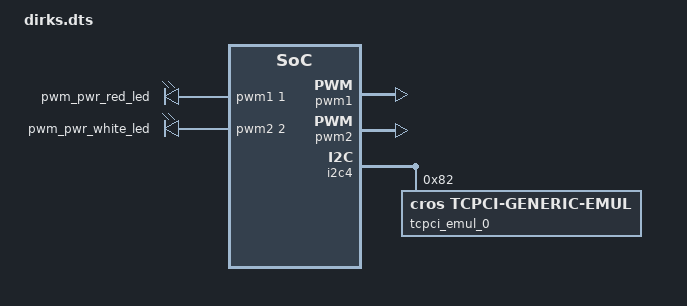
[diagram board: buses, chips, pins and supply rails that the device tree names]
/* Copyright 2025 The ChromiumOS Authors
 * Use of this source code is governed by a BSD-style license that can be
 * found in the LICENSE file.
 */

#include <dt-bindings/pwm/pwm.h>
#include <it8xxx2_emul.dts>

/ {
	aliases {
		gpio-usb-c1-int-odl = &gpio_sb_1;
	};

	named-gpios {
		compatible = "named-gpios";

		gpio_ec_entering_rw: ec_entering_rw {
			gpios = <&gpioc 7 GPIO_OUTPUT>;
			enum-name = "GPIO_ENTERING_RW";
		};
		gpio_usb_c0_fault_l: usb_c0_fault_l {
			gpios = <&gpiok 0 GPIO_INPUT_PULL_UP>;
		};
		gpio_sb_1: sb_1 {
			gpios = <&gpioe 6 0>;
			no-auto-init;
		};
	};

	gpio-interrupts {
		compatible = "cros-ec,gpio-interrupts";

		int_usb_c0: usb_c0 {
			irq-pin = <&gpio_usb_c0_fault_l>;
			flags = <GPIO_INT_EDGE_FALLING>;
			handler = "syv682x_interrupt";
		};
	};

	named-i2c-ports {
		compatible = "named-i2c-ports";

		i2c_ec_i2c_usb_c0: ec_i2c_usb_c0 {
			i2c-port = <&i2c2>;
			enum-names = "I2C_PORT_USB_C0";
		};
	};

	usbc {
		#address-cells = <1>;
		#size-cells = <0>;
		port0@0 {
			compatible = "named-usbc-port";
			reg = <0>;
			tcpc = <&tcpci_emul_0>;
			usb-mux-chain-0 {
				compatible = "cros-ec,usb-mux-chain";
				usb-muxes = <&virtual_mux_0>;
			};
		};
		port0-muxes {
			virtual_mux_0: virtual-mux-0 {
				compatible = "cros-ec,usbc-mux-virtual";
			};
		};
	};

	led-pwms {
		#address-cells = <1>;
		#size-cells = <1>;

		pwm1: pwm@1 {
			compatible = "cros,pwm-mock";
			reg = <1 1>;
			#pwm-cells = <3>;
		};
		pwm2: pwm@2 {
			compatible = "cros,pwm-mock";
			reg = <2 1>;
			#pwm-cells = <3>;
		};
	};

	pwmleds {
		compatible = "pwm-leds";
		pwm_pwr_red_led: pwm_pwr_red_led {
			pwms = <&pwm1 1 PWM_HZ(2000) PWM_POLARITY_INVERTED>;
		};
		pwm_pwr_white_led: pwm_pwr_white_led {
			pwms = <&pwm2 2 PWM_HZ(2000) PWM_POLARITY_INVERTED>;
		};
	};

	cros-pwmleds {
		compatible = "cros-ec,pwm-leds";

		leds = <&pwm_pwr_red_led>;
		leds = <&pwm_pwr_white_led>;
	};

	pwm-led-pins {
		compatible = "cros-ec,pwm-led-pins";

		power_led: power-led {
			led-id = "EC_LED_ID_POWER_LED";
			led-pwms = <&pwm_pwr_red_led &pwm_pwr_white_led>;

			color-battery-off {
				led-color = "LED_OFF";
				led-values = <0 0>;
			};

			color-battery-amber {
				led-color = "LED_AMBER";
				led-values = <100 0>;
			};

			color-battery-white {
				led-color = "LED_WHITE";
				led-values = <0 100>;
			};
		};
	};
};

&i2c4 {
	tcpci_emul_0: tcpci_emul@82 {
		compatible = "cros,tcpci-generic-emul";
		status = "okay";
		reg = <0x82>;
	};
};
